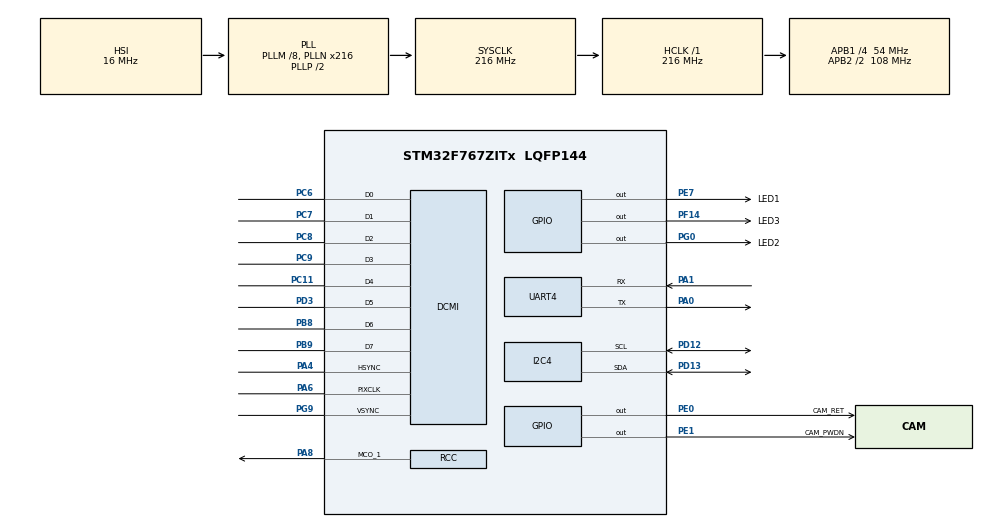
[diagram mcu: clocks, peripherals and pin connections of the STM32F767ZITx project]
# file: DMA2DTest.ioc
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CORTEX_M7.ART_ACCLERATOR_ENABLE=1
CORTEX_M7.CPU_DCache=Enabled
CORTEX_M7.CPU_ICache=Enabled
CORTEX_M7.PREFETCH_ENABLE=1
DCMI.HSPolarity=DCMI_HSPOLARITY_HIGH
DCMI.LineSelectMode=DCMI_LSM_ALL
DCMI.PCKPolarity=DCMI_PCKPOLARITY_FALLING
DCMI.VSPolarity=DCMI_VSPOLARITY_HIGH
DMA2D.AlphaModeForeground=DMA2D_REPLACE_ALPHA
DMA2D.ColorMode=DMA2D_OUTPUT_ARGB8888
DMA2D.InputAlphaForeground=0xFF
DMA2D.InputColorModeForeground=DMA2D_INPUT_RGB565
DMA2D.Mode=DMA2D_M2M_PFC
DMA2D.RedBlueSwapForeground=DMA2D_RB_SWAP
Dma.DCMI.0.Direction=DMA_PERIPH_TO_MEMORY
Dma.DCMI.0.FIFOMode=DMA_FIFOMODE_ENABLE
Dma.DCMI.0.FIFOThreshold=DMA_FIFO_THRESHOLD_FULL
Dma.DCMI.0.Instance=DMA2_Stream1
Dma.DCMI.0.MemBurst=DMA_MBURST_SINGLE
Dma.DCMI.0.MemDataAlignment=DMA_MDATAALIGN_HALFWORD
Dma.DCMI.0.MemInc=DMA_MINC_ENABLE
Dma.DCMI.0.Mode=DMA_NORMAL
Dma.DCMI.0.PeriphBurst=DMA_PBURST_SINGLE
Dma.DCMI.0.PeriphDataAlignment=DMA_PDATAALIGN_WORD
Dma.DCMI.0.PeriphInc=DMA_PINC_DISABLE
Dma.DCMI.0.Priority=DMA_PRIORITY_HIGH
Dma.Request0=DCMI
I2C4.Timing=0x20404768
Mcu.Family=STM32F7
Mcu.Name=STM32F767ZITx
Mcu.Package=LQFP144
NVIC.DCMI_IRQn=true\:0\:0\:false\:false\:true\:true\:true
NVIC.DMA2D_IRQn=true\:0\:0\:false\:false\:true\:true\:true
NVIC.DMA2_Stream1_IRQn=true\:0\:0\:false\:false\:true\:false\:true
NVIC.PriorityGroup=NVIC_PRIORITYGROUP_4
PA0/WKUP.Mode=Asynchronous
PA0/WKUP.Signal=UART4_TX
PA1.Mode=Asynchronous
PA1.Signal=UART4_RX
PA13.Mode=Serial_Wire
PA13.Signal=SYS_JTMS-SWDIO
PA14.Mode=Serial_Wire
PA14.Signal=SYS_JTCK-SWCLK
PA4.GPIO_PuPd=GPIO_PULLUP
PA4.GPIO_Speed=GPIO_SPEED_FREQ_HIGH
PA4.Mode=Slave_8_bits_External_Synchro
PA4.Signal=DCMI_HSYNC
PA6.GPIO_PuPd=GPIO_PULLUP
PA6.GPIO_Speed=GPIO_SPEED_FREQ_HIGH
PA6.Mode=Slave_8_bits_External_Synchro
PA6.Signal=DCMI_PIXCLK
PA8.GPIO_Speed=GPIO_SPEED_FREQ_VERY_HIGH
PA8.Mode=Clock-out-1
PA8.Signal=RCC_MCO_1
PB8.GPIO_PuPd=GPIO_PULLUP
PB8.GPIO_Speed=GPIO_SPEED_FREQ_HIGH
PB8.Mode=Slave_8_bits_External_Synchro
PB8.Signal=DCMI_D6
PB9.GPIO_PuPd=GPIO_PULLUP
PB9.GPIO_Speed=GPIO_SPEED_FREQ_HIGH
PB9.Mode=Slave_8_bits_External_Synchro
PB9.Signal=DCMI_D7
PC11.GPIO_PuPd=GPIO_PULLUP
PC11.GPIO_Speed=GPIO_SPEED_FREQ_HIGH
PC11.Mode=Slave_8_bits_External_Synchro
PC11.Signal=DCMI_D4
PC6.GPIO_PuPd=GPIO_PULLUP
PC6.GPIO_Speed=GPIO_SPEED_FREQ_HIGH
PC6.Mode=Slave_8_bits_External_Synchro
PC6.Signal=DCMI_D0
PC7.GPIO_PuPd=GPIO_PULLUP
PC7.GPIO_Speed=GPIO_SPEED_FREQ_HIGH
PC7.Mode=Slave_8_bits_External_Synchro
PC7.Signal=DCMI_D1
PC8.GPIO_PuPd=GPIO_PULLUP
PC8.GPIO_Speed=GPIO_SPEED_FREQ_HIGH
PC8.Mode=Slave_8_bits_External_Synchro
PC8.Signal=DCMI_D2
PC9.GPIO_PuPd=GPIO_PULLUP
PC9.GPIO_Speed=GPIO_SPEED_FREQ_HIGH
PC9.Mode=Slave_8_bits_External_Synchro
PC9.Signal=DCMI_D3
PD12.GPIO_PuPdOD=GPIO_NOPULL
PD12.Mode=I2C
PD12.Signal=I2C4_SCL
PD13.GPIO_PuPdOD=GPIO_NOPULL
PD13.Mode=I2C
PD13.Signal=I2C4_SDA
PD3.GPIO_PuPd=GPIO_PULLUP
PD3.GPIO_Speed=GPIO_SPEED_FREQ_HIGH
PD3.Mode=Slave_8_bits_External_Synchro
PD3.Signal=DCMI_D5
PE0.GPIO_Label=CAM_RET
PE0.Signal=GPIO_Output
PE1.GPIO_Label=CAM_PWDN
PE1.Signal=GPIO_Output
PE7.GPIO_Label=LED1
PE7.Signal=GPIO_Output
PF14.GPIO_Label=LED3
PF14.Signal=GPIO_Output
PF6.Signal=S_TIM10_CH1
PG0.GPIO_Label=LED2
PG0.Signal=GPIO_Output
PG9.GPIO_PuPd=GPIO_PULLUP
PG9.GPIO_Speed=GPIO_SPEED_FREQ_HIGH
PG9.Mode=Slave_8_bits_External_Synchro
PG9.Signal=DCMI_VSYNC
ProjectManager.HeapSize=0x200
ProjectManager.StackSize=0x400
ProjectManager.TargetToolchain=SW4STM32
RCC.AHBFreq_Value=216000000
RCC.APB1CLKDivider=RCC_HCLK_DIV4
RCC.APB1Freq_Value=54000000
RCC.APB1TimFreq_Value=108000000
RCC.APB2CLKDivider=RCC_HCLK_DIV2
RCC.APB2Freq_Value=108000000
RCC.APB2TimFreq_Value=216000000
RCC.CortexFreq_Value=216000000
RCC.HCLKFreq_Value=216000000
RCC.HSE_VALUE=25000000
RCC.HSI_VALUE=16000000
RCC.LSE_VALUE=32768
RCC.PLLM=8
RCC.PLLN=216
RCC.SYSCLKFreq_VALUE=216000000
RCC.SYSCLKSource=RCC_SYSCLKSOURCE_PLLCLK
RCC.USBFreq_Value=216000000
RCC.VCOOutputFreq_Value=432000000
SH.S_TIM10_CH1.0=TIM10_CH1
VP_DMA2D_VS_DMA2D.Mode=DMA2D_Activate
board=custom

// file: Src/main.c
/* USER CODE BEGIN Header */
/**
  ******************************************************************************
  * @file           : main.c
  * @brief          : Main program body
  ******************************************************************************
  * @attention
  *
  * <h2><center>&copy; Copyright (c) 2019 STMicroelectronics.
  * All rights reserved.</center></h2>
  *
  * This software component is licensed by ST under BSD 3-Clause license,
  * the "License"; You may not use this file except in compliance with the
  * License. You may obtain a copy of the License at:
  *                        opensource.org/licenses/BSD-3-Clause
  *
  ******************************************************************************
  */
/* USER CODE END Header */

#include "main.h"

/* USER CODE BEGIN PD */
#define CAM_BUF (320*240)
#define AI_BUF (100*100*3)
/* USER CODE END PD */

DCMI_HandleTypeDef hdcmi;
DMA_HandleTypeDef hdma_dcmi;

DMA2D_HandleTypeDef hdma2d;

I2C_HandleTypeDef hi2c4;

UART_HandleTypeDef huart4;

void SystemClock_Config(void);
static void MX_GPIO_Init(void);
static void MX_DMA_Init(void);
static void MX_DCMI_Init(void);
static void MX_DMA2D_Init(void);
static void MX_I2C4_Init(void);
static void MX_UART4_Init(void);
/* USER CODE BEGIN PFP */
static void Camera_Config(void);
/* USER CODE END PFP */

/* USER CODE BEGIN 0 */
uint16_t RGB565_BUF[CAM_BUF] = {0};
//uint8_t RGB888_BUF[AI_BUF] = {0};
uint8_t my_bmp_header[] = {
		  0x42,0x4D,0x36,0x58,0x02,0x00,0x00,0x00,0x00,0x00, // ID=BM, Filsize=(240x320x2+66)
		  0x42,0x00,0x00,0x00,0x28,0x00,0x00,0x00,           // Offset=66d, Headerlen=40d
		  0x40,0x01,0x00,0x00,0xF0,0x00,0x00,0x00,0x01,0x00, // W=320d, H=240d (landscape)
		  0x10,0x00,0x03,0x00,0x00,0x00,0x00,0x58,0x02,0x00, // 16bpp, bitfields, Data=(240x320x2)
		  0x00,0x00,0x00,0x00,0x00,0x00,0x00,0x00,           // nc
		  0x00,0x00,0x00,0x00,0x00,0x00,0x00,0x00,			 // nc
		  0x00,0xF8,0x00,0x00,0xE0,0x07,0x00,0x00,			 // Color Table
		  0x1F,0x00,0x00,0x00								 // Color Table
};
uint8_t BMP_HEADER_100x100[]={
  0x42,0x4D,0x66,0x75,0x00,0x00,0x00,0x00,0x00,0x00, // ID=BM, Filsize=(100x100x3+54)
  0x36,0x00,0x00,0x00,0x28,0x00,0x00,0x00,           // Offset=54d, Headerlen=40d
  0x64,0x00,0x00,0x00,0x64,0x00,0x00,0x00,0x01,0x00, // W=100d, H=100d (landscape)
  0x18,0x00,0x00,0x00,0x00,0x00,0x30,0x75,0x00,0x00, // 24bpp, unkomprimiert, Data=(100x100x3)
  0x00,0x00,0x00,0x00,0x00,0x00,0x00,0x00,           // nc
  0x00,0x00,0x00,0x00,0x00,0x00,0x00,0x00};          // nc

/* USER CODE END 0 */

int main(void)
{

  /* Enable I-Cache---------------------------------------------------------*/
  SCB_EnableICache();

  /* Enable D-Cache---------------------------------------------------------*/
  SCB_EnableDCache();

  /* MCU Configuration--------------------------------------------------------*/

  /* Reset of all peripherals, Initializes the Flash interface and the Systick. */
  HAL_Init();

  /* Configure the system clock */
  SystemClock_Config();

  /* Initialize all configured peripherals */
  MX_GPIO_Init();
  MX_DMA_Init();
  MX_DCMI_Init();
  MX_DMA2D_Init();
  MX_I2C4_Init();
  MX_UART4_Init();
  /* USER CODE BEGIN 2 */
  Camera_Config();
  HAL_Delay(2000);
  HAL_DCMI_Start_DMA(&hdcmi,DCMI_MODE_SNAPSHOT,(uint32_t) &RGB565_BUF, (uint32_t) CAM_BUF);
  while(HAL_DCMI_GetState(&hdcmi) != HAL_DCMI_STATE_READY) {
	  HAL_GPIO_WritePin(LED1_GPIO_Port,LED1_Pin,GPIO_PIN_SET);
	  HAL_Delay(200);
	  HAL_GPIO_WritePin(LED1_GPIO_Port,LED1_Pin,GPIO_PIN_RESET);
	  HAL_Delay(200);
  }

  /*HAL_UART_Transmit(&huart4,BMP_HEADER_100x100,sizeof(BMP_HEADER_100x100),2000);
  int pix = 0;
  for(int y = 0;y < (320*100);y += 320) {
	  for(int x = 0;x < 100;x++) {
		  int i = x + y;
		  RGB888_BUF[pix] = ((RGB565_BUF[i]&0xF800)>>8);  // 5bit red
		  RGB888_BUF[pix+1] = ((RGB565_BUF[i]&0x07E0)>>3);  // 6bit green
		  RGB888_BUF[pix+2] = ((RGB565_BUF[i]&0x001F)<<3);  // 5bit blue
		  HAL_UART_Transmit(&huart4,&RGB888_BUF[pix],1,2000);
		  HAL_UART_Transmit(&huart4,&RGB888_BUF[pix+1],1,2000);
		  HAL_UART_Transmit(&huart4,&RGB888_BUF[pix+2],1,2000);
		  pix++;
	  }
  }
  HAL_Delay(300);*/
  HAL_UART_Transmit(&huart4,my_bmp_header,sizeof(my_bmp_header),2000);
  for(int i = 0;i < CAM_BUF;i++) {
	  uint8_t lsb = RGB565_BUF[i] & 0xFF;
	  uint8_t msb = (RGB565_BUF[i] >> 8) & 0xFF;
	  HAL_UART_Transmit(&huart4,&lsb,1,2000);
	  HAL_UART_Transmit(&huart4,&msb,1,2000);
  }
  /* USER CODE END 2 */

  /* Infinite loop */
  while (1)
  {

    /* USER CODE BEGIN 3 */
	HAL_GPIO_WritePin(LED2_GPIO_Port,LED2_Pin,GPIO_PIN_SET);
	HAL_Delay(200);
	HAL_GPIO_WritePin(LED2_GPIO_Port,LED2_Pin,GPIO_PIN_RESET);
	HAL_Delay(200);
  }
  /* USER CODE END 3 */
}

void SystemClock_Config(void)
{
  RCC_OscInitTypeDef RCC_OscInitStruct = {0};
  RCC_ClkInitTypeDef RCC_ClkInitStruct = {0};
  RCC_PeriphCLKInitTypeDef PeriphClkInitStruct = {0};

  /** Configure the main internal regulator output voltage
  */
  __HAL_RCC_PWR_CLK_ENABLE();
  __HAL_PWR_VOLTAGESCALING_CONFIG(PWR_REGULATOR_VOLTAGE_SCALE1);
  /** Initializes the CPU, AHB and APB busses clocks
  */
  RCC_OscInitStruct.OscillatorType = RCC_OSCILLATORTYPE_HSI;
  RCC_OscInitStruct.HSIState = RCC_HSI_ON;
  RCC_OscInitStruct.HSICalibrationValue = RCC_HSICALIBRATION_DEFAULT;
  RCC_OscInitStruct.PLL.PLLState = RCC_PLL_ON;
  RCC_OscInitStruct.PLL.PLLSource = RCC_PLLSOURCE_HSI;
  RCC_OscInitStruct.PLL.PLLM = 8;
  RCC_OscInitStruct.PLL.PLLN = 216;
  RCC_OscInitStruct.PLL.PLLP = RCC_PLLP_DIV2;
  RCC_OscInitStruct.PLL.PLLQ = 2;
  if (HAL_RCC_OscConfig(&RCC_OscInitStruct) != HAL_OK)
  {
    Error_Handler();
  }
  /** Activate the Over-Drive mode
  */
  if (HAL_PWREx_EnableOverDrive() != HAL_OK)
  {
    Error_Handler();
  }
  /** Initializes the CPU, AHB and APB busses clocks
  */
  RCC_ClkInitStruct.ClockType = RCC_CLOCKTYPE_HCLK|RCC_CLOCKTYPE_SYSCLK
                              |RCC_CLOCKTYPE_PCLK1|RCC_CLOCKTYPE_PCLK2;
  RCC_ClkInitStruct.SYSCLKSource = RCC_SYSCLKSOURCE_PLLCLK;
  RCC_ClkInitStruct.AHBCLKDivider = RCC_SYSCLK_DIV1;
  RCC_ClkInitStruct.APB1CLKDivider = RCC_HCLK_DIV4;
  RCC_ClkInitStruct.APB2CLKDivider = RCC_HCLK_DIV2;

  if (HAL_RCC_ClockConfig(&RCC_ClkInitStruct, FLASH_LATENCY_7) != HAL_OK)
  {
    Error_Handler();
  }
  PeriphClkInitStruct.PeriphClockSelection = RCC_PERIPHCLK_UART4|RCC_PERIPHCLK_I2C4;
  PeriphClkInitStruct.Uart4ClockSelection = RCC_UART4CLKSOURCE_PCLK1;
  PeriphClkInitStruct.I2c4ClockSelection = RCC_I2C4CLKSOURCE_PCLK1;
  if (HAL_RCCEx_PeriphCLKConfig(&PeriphClkInitStruct) != HAL_OK)
  {
    Error_Handler();
  }
  HAL_RCC_MCOConfig(RCC_MCO1, RCC_MCO1SOURCE_HSI, RCC_MCODIV_1);
}

static void MX_DCMI_Init(void)
{

  hdcmi.Instance = DCMI;
  hdcmi.Init.SynchroMode = DCMI_SYNCHRO_HARDWARE;
  hdcmi.Init.PCKPolarity = DCMI_PCKPOLARITY_FALLING;
  hdcmi.Init.VSPolarity = DCMI_VSPOLARITY_HIGH;
  hdcmi.Init.HSPolarity = DCMI_HSPOLARITY_HIGH;
  hdcmi.Init.CaptureRate = DCMI_CR_ALL_FRAME;
  hdcmi.Init.ExtendedDataMode = DCMI_EXTEND_DATA_8B;
  hdcmi.Init.JPEGMode = DCMI_JPEG_DISABLE;
  hdcmi.Init.ByteSelectMode = DCMI_BSM_ALL;
  hdcmi.Init.ByteSelectStart = DCMI_OEBS_ODD;
  hdcmi.Init.LineSelectMode = DCMI_LSM_ALL;
  hdcmi.Init.LineSelectStart = DCMI_OELS_ODD;
  if (HAL_DCMI_Init(&hdcmi) != HAL_OK)
  {
    Error_Handler();
  }

}

static void MX_DMA2D_Init(void)
{

  hdma2d.Instance = DMA2D;
  hdma2d.Init.Mode = DMA2D_M2M_PFC;
  hdma2d.Init.ColorMode = DMA2D_OUTPUT_ARGB8888;
  hdma2d.Init.OutputOffset = 0;
  hdma2d.LayerCfg[1].InputOffset = 0;
  hdma2d.LayerCfg[1].InputColorMode = DMA2D_INPUT_RGB565;
  hdma2d.LayerCfg[1].AlphaMode = DMA2D_REPLACE_ALPHA;
  hdma2d.LayerCfg[1].InputAlpha = 0xFF;
  hdma2d.LayerCfg[1].AlphaInverted = DMA2D_REGULAR_ALPHA;
  hdma2d.LayerCfg[1].RedBlueSwap = DMA2D_RB_SWAP;
  if (HAL_DMA2D_Init(&hdma2d) != HAL_OK)
  {
    Error_Handler();
  }
  if (HAL_DMA2D_ConfigLayer(&hdma2d, 1) != HAL_OK)
  {
    Error_Handler();
  }

}

static void MX_I2C4_Init(void)
{

  hi2c4.Instance = I2C4;
  hi2c4.Init.Timing = 0x20404768;
  hi2c4.Init.OwnAddress1 = 0;
  hi2c4.Init.AddressingMode = I2C_ADDRESSINGMODE_7BIT;
  hi2c4.Init.DualAddressMode = I2C_DUALADDRESS_DISABLE;
  hi2c4.Init.OwnAddress2 = 0;
  hi2c4.Init.OwnAddress2Masks = I2C_OA2_NOMASK;
  hi2c4.Init.GeneralCallMode = I2C_GENERALCALL_DISABLE;
  hi2c4.Init.NoStretchMode = I2C_NOSTRETCH_DISABLE;
  if (HAL_I2C_Init(&hi2c4) != HAL_OK)
  {
    Error_Handler();
  }
  /** Configure Analogue filter
  */
  if (HAL_I2CEx_ConfigAnalogFilter(&hi2c4, I2C_ANALOGFILTER_ENABLE) != HAL_OK)
  {
    Error_Handler();
  }
  /** Configure Digital filter
  */
  if (HAL_I2CEx_ConfigDigitalFilter(&hi2c4, 0) != HAL_OK)
  {
    Error_Handler();
  }

}

static void MX_UART4_Init(void)
{

  huart4.Instance = UART4;
  huart4.Init.BaudRate = 115200;
  huart4.Init.WordLength = UART_WORDLENGTH_8B;
  huart4.Init.StopBits = UART_STOPBITS_1;
  huart4.Init.Parity = UART_PARITY_NONE;
  huart4.Init.Mode = UART_MODE_TX_RX;
  huart4.Init.HwFlowCtl = UART_HWCONTROL_NONE;
  huart4.Init.OverSampling = UART_OVERSAMPLING_16;
  huart4.Init.OneBitSampling = UART_ONE_BIT_SAMPLE_DISABLE;
  huart4.AdvancedInit.AdvFeatureInit = UART_ADVFEATURE_NO_INIT;
  if (HAL_UART_Init(&huart4) != HAL_OK)
  {
    Error_Handler();
  }

}

static void MX_DMA_Init(void)
{

  /* DMA controller clock enable */
  __HAL_RCC_DMA2_CLK_ENABLE();

  /* DMA interrupt init */
  /* DMA2_Stream1_IRQn interrupt configuration */
  HAL_NVIC_SetPriority(DMA2_Stream1_IRQn, 0, 0);
  HAL_NVIC_EnableIRQ(DMA2_Stream1_IRQn);

}

static void MX_GPIO_Init(void)
{
  GPIO_InitTypeDef GPIO_InitStruct = {0};

  /* GPIO Ports Clock Enable */
  __HAL_RCC_GPIOF_CLK_ENABLE();
  __HAL_RCC_GPIOA_CLK_ENABLE();
  __HAL_RCC_GPIOG_CLK_ENABLE();
  __HAL_RCC_GPIOE_CLK_ENABLE();
  __HAL_RCC_GPIOD_CLK_ENABLE();
  __HAL_RCC_GPIOC_CLK_ENABLE();
  __HAL_RCC_GPIOB_CLK_ENABLE();

  /*Configure GPIO pin Output Level */
  HAL_GPIO_WritePin(LED3_GPIO_Port, LED3_Pin, GPIO_PIN_RESET);

  /*Configure GPIO pin Output Level */
  HAL_GPIO_WritePin(LED2_GPIO_Port, LED2_Pin, GPIO_PIN_RESET);

  /*Configure GPIO pin Output Level */
  HAL_GPIO_WritePin(GPIOE, LED1_Pin|CAM_RET_Pin|CAM_PWDN_Pin, GPIO_PIN_RESET);

  /*Configure GPIO pin : PF6 */
  GPIO_InitStruct.Pin = GPIO_PIN_6;
  GPIO_InitStruct.Mode = GPIO_MODE_AF_PP;
  GPIO_InitStruct.Pull = GPIO_NOPULL;
  GPIO_InitStruct.Speed = GPIO_SPEED_FREQ_LOW;
  GPIO_InitStruct.Alternate = GPIO_AF3_TIM10;
  HAL_GPIO_Init(GPIOF, &GPIO_InitStruct);

  /*Configure GPIO pin : LED3_Pin */
  GPIO_InitStruct.Pin = LED3_Pin;
  GPIO_InitStruct.Mode = GPIO_MODE_OUTPUT_PP;
  GPIO_InitStruct.Pull = GPIO_NOPULL;
  GPIO_InitStruct.Speed = GPIO_SPEED_FREQ_LOW;
  HAL_GPIO_Init(LED3_GPIO_Port, &GPIO_InitStruct);

  /*Configure GPIO pin : LED2_Pin */
  GPIO_InitStruct.Pin = LED2_Pin;
  GPIO_InitStruct.Mode = GPIO_MODE_OUTPUT_PP;
  GPIO_InitStruct.Pull = GPIO_NOPULL;
  GPIO_InitStruct.Speed = GPIO_SPEED_FREQ_LOW;
  HAL_GPIO_Init(LED2_GPIO_Port, &GPIO_InitStruct);

  /*Configure GPIO pins : LED1_Pin CAM_RET_Pin CAM_PWDN_Pin */
  GPIO_InitStruct.Pin = LED1_Pin|CAM_RET_Pin|CAM_PWDN_Pin;
  GPIO_InitStruct.Mode = GPIO_MODE_OUTPUT_PP;
  GPIO_InitStruct.Pull = GPIO_NOPULL;
  GPIO_InitStruct.Speed = GPIO_SPEED_FREQ_LOW;
  HAL_GPIO_Init(GPIOE, &GPIO_InitStruct);

  /*Configure GPIO pin : PA8 */
  GPIO_InitStruct.Pin = GPIO_PIN_8;
  GPIO_InitStruct.Mode = GPIO_MODE_AF_PP;
  GPIO_InitStruct.Pull = GPIO_NOPULL;
  GPIO_InitStruct.Speed = GPIO_SPEED_FREQ_VERY_HIGH;
  GPIO_InitStruct.Alternate = GPIO_AF0_MCO;
  HAL_GPIO_Init(GPIOA, &GPIO_InitStruct);

}

/* USER CODE BEGIN 4 */
static void Camera_Config(void) {
	uint8_t reset = 0x80;
	HAL_I2C_Mem_Write(&hi2c4,0x60,0x12,I2C_MEMADD_SIZE_8BIT,&reset,1,2000);
	HAL_Delay(200);

	static uint8_t OV9655_QVGA_TAB[][2]=
	{
	  {0x00,0x00},{0x01,0x80},{0x02,0x80},{0x03,0x02},{0x04,0x03},{0x09,0x01},
	  {0x0b,0x57},{0x0e,0x61},{0x0f,0x40},{0x11,0x01},{0x12,0x62},{0x13,0xc7},
	  {0x14,0x3a},{0x16,0x24},{0x17,0x18},{0x18,0x04},{0x19,0x01},{0x1a,0x81},
	  {0x1e,0x10},{0x24,0x3c},{0x25,0x36},{0x26,0x72},{0x27,0x08},{0x28,0x08},
	  {0x29,0x15},{0x2a,0x00},{0x2b,0x00},{0x2c,0x08},{0x32,0x12},{0x33,0x00},
	  {0x34,0x3f},{0x35,0x00},{0x36,0x3a},{0x38,0x72},{0x39,0x57},{0x3a,0xcc},
	  {0x3b,0x04},{0x3d,0x99},{0x3e,0x02},{0x3f,0xc1},{0x40,0xc0},{0x41,0x41},
	  {0x42,0xc0},{0x43,0x0a},{0x44,0xf0},{0x45,0x46},{0x46,0x62},{0x47,0x2a},
	  {0x48,0x3c},{0x4a,0xfc},{0x4b,0xfc},{0x4c,0x7f},{0x4d,0x7f},{0x4e,0x7f},
	  {0x4f,0x98},{0x50,0x98},{0x51,0x00},{0x52,0x28},{0x53,0x70},{0x54,0x98},
	  {0x58,0x1a},{0x59,0x85},{0x5a,0xa9},{0x5b,0x64},{0x5c,0x84},{0x5d,0x53},
	  {0x5e,0x0e},{0x5f,0xf0},{0x60,0xf0},{0x61,0xf0},{0x62,0x00},{0x63,0x00},
	  {0x64,0x02},{0x65,0x20},{0x66,0x00},{0x69,0x0a},{0x6b,0x5a},{0x6c,0x04},
	  {0x6d,0x55},{0x6e,0x00},{0x6f,0x9d},{0x70,0x21},{0x71,0x78},{0x72,0x11},
	  {0x73,0x01},{0x74,0x10},{0x75,0x10},{0x76,0x01},{0x77,0x02},{0x7A,0x12},
	  {0x7B,0x08},{0x7C,0x16},{0x7D,0x30},{0x7E,0x5e},{0x7F,0x72},{0x80,0x82},
	  {0x81,0x8e},{0x82,0x9a},{0x83,0xa4},{0x84,0xac},{0x85,0xb8},{0x86,0xc3},
	  {0x87,0xd6},{0x88,0xe6},{0x89,0xf2},{0x8a,0x24},{0x8c,0x80},{0x90,0x7d},
	  {0x91,0x7b},{0x9d,0x02},{0x9e,0x02},{0x9f,0x7a},{0xa0,0x79},{0xa1,0x40},
	  {0xa4,0x50},{0xa5,0x68},{0xa6,0x4a},{0xa8,0xc1},{0xa9,0xef},{0xaa,0x92},
	  {0xab,0x04},{0xac,0x80},{0xad,0x80},{0xae,0x80},{0xaf,0x80},{0xb2,0xf2},
	  {0xb3,0x20},{0xb4,0x20},{0xb5,0x00},{0xb6,0xaf},{0xb6,0xaf},{0xbb,0xae},
	  {0xbc,0x7f},{0xbd,0x7f},{0xbe,0x7f},{0xbf,0x7f},{0xbf,0x7f},{0xc0,0xaa},
	  {0xc1,0xc0},{0xc2,0x01},{0xc3,0x4e},{0xc6,0x05},{0xc7,0x81},{0xc9,0xe0},
	  {0xca,0xe8},{0xcb,0xf0},{0xcc,0xd8},{0xcd,0x93},{0x12,0x63},{0x40,0x10},
	  {0x15,0x08}
	};

	for(int i = 0;i < sizeof(OV9655_QVGA_TAB)/2;i++) {
		HAL_I2C_Mem_Write(&hi2c4,0x60,OV9655_QVGA_TAB[i][0],I2C_MEMADD_SIZE_8BIT,&(OV9655_QVGA_TAB[i][1]),1,2000);
		HAL_Delay(2);
	}
}
/* USER CODE END 4 */

void Error_Handler(void)
{
}

/************************ (C) COPYRIGHT STMicroelectronics *****END OF FILE****/
